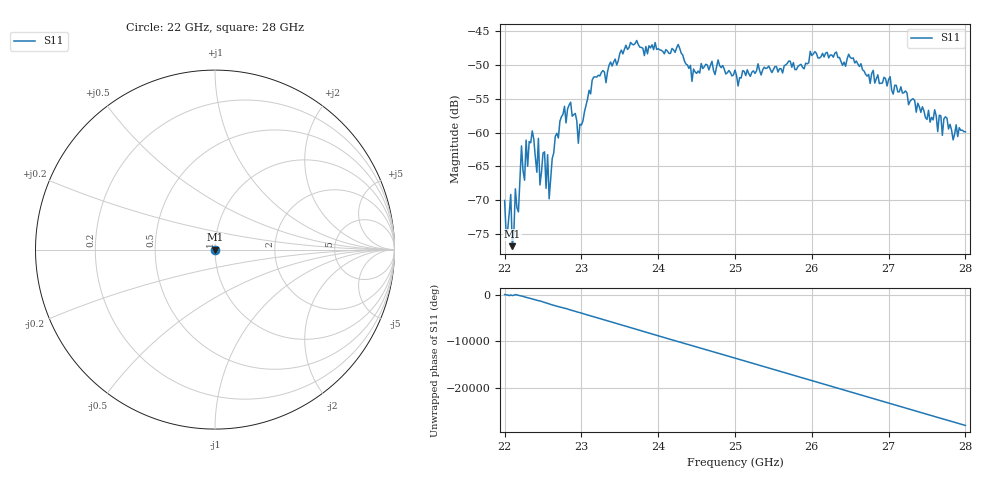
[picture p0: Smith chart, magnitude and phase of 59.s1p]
#  HZ  S  RI  R  50.00
! Rohde & Schwarz ZVA40 4Ports - Version 3.90 - 1145.1110k42 SN: 100403
! Date: 2023-10-04 07:43:44
! Measurement: S12
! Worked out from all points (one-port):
!   301 points, 22 GHz to 28 GHz, reference 50 ohm
!   lowest |S11| = -76.8 dB at 22.1 GHz (marker M1), VSWR 1.00, Z = 50 - j0.0144 ohm
!   |S11| at or under -10 dB: start of sweep to end of sweep
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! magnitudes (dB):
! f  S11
! 22 GHz  -70.1
! 22.02 GHz  -75.0
! 22.08 GHz  -69.2
! 22.1 GHz  -76.8
! 22.14 GHz  -68.3
! 22.18 GHz  -71.7
! 22.22 GHz  -62.0
! 22.26 GHz  -67.1
! 22.28 GHz  -61.1
! 22.36 GHz  -59.7
! 22.42 GHz  -65.9
! 22.44 GHz  -60.8
! 22.46 GHz  -67.8
! 22.52 GHz  -62.9
! 22.54 GHz  -68.3
! 22.56 GHz  -63.3
! 22.58 GHz  -69.8
! 22.76 GHz  -57.3
! 22.96 GHz  -61.6
! 23.14 GHz  -52.2
! 23.5 GHz  -48.3
! 24.26 GHz  -46.9
! 24.44 GHz  -52.4
! 25 GHz  -50.7
! 25.76 GHz  -49.6
! 26.5 GHz  -48.9
! 27.26 GHz  -55.9
! 28 GHz  -59.9
